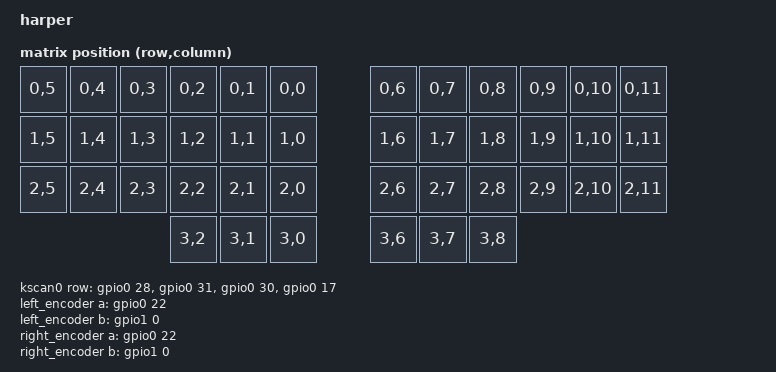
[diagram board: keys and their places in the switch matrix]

/dts-v1/;

#define ZMK_POINTING_DEFAULT_SCRL_VAL 180

#include <nordic/nrf52840_qiaa.dtsi>
#include <dt-bindings/zmk/matrix_transform.h>
#include <dt-bindings/led/led.h>
#include <dt-bindings/zmk/pointing.h>

#include "hallie.pinctrl.dtsi"
#include "hallie.layouts.dtsi"

&hallie_layout {
    transform = <&default_transform>;
};

/ {
	model = "harper";
	compatible = "harper";

	chosen {
		zephyr,code-partition = &code_partition;
		zephyr,sram = &sram0;
		zephyr,flash = &flash0;
		zmk,kscan = &kscan0;
		zmk,physical-layout = &hallie_layout;
        zephyr,console = &cdc_acm_uart;
		zmk,battery = &vbatt;
		zmk,led-widgets-dev = &leds;
	};

	default_transform: keymap_transform_0 {
      		compatible = "zmk,matrix-transform";
      		columns = <12>;
      		rows = <4>;
			// | SW6  | SW5  | SW4  | SW3  | SW2  | SW1  |           | SW1  | SW2  | SW3  | SW4  | SW5  | SW6  |
			// | SW12 | SW11 | SW10 | SW9  | SW8  | SW7  |           | SW7  | SW8  | SW9  | SW10 | SW11 | SW12 |
			// | SW18 | SW17 | SW16 | SW15 | SW14 | SW13 |           | SW13 | SW14 | SW15 | SW16 | SW17 | SW18 |
			//                      | SW21 | SW20 | SW19 |           | SW19 | SW20 | SW21 |
      		map = <
				RC(0,5) RC(0,4) RC(0,3) RC(0,2) RC(0,1) RC(0,0)          RC(0,6)  RC(0,7) RC(0,8) RC(0,9) RC(0,10) RC(0,11)
				RC(1,5) RC(1,4) RC(1,3) RC(1,2) RC(1,1) RC(1,0)          RC(1,6)  RC(1,7) RC(1,8) RC(1,9) RC(1,10) RC(1,11)
				RC(2,5) RC(2,4) RC(2,3) RC(2,2) RC(2,1) RC(2,0)          RC(2,6)  RC(2,7) RC(2,8) RC(2,9) RC(2,10) RC(2,11)
										RC(3,2) RC(3,1) RC(3,0)          RC(3,6)  RC(3,7) RC(3,8)
      		>;
	};

	kscan0: kscan {
		compatible = "zmk,kscan-gpio-matrix";
		diode-direction = "col2row";
		wakeup-source;
		row-gpios
			= <&gpio0 28 (GPIO_ACTIVE_HIGH | GPIO_PULL_DOWN)>
			, <&gpio0 31 (GPIO_ACTIVE_HIGH | GPIO_PULL_DOWN)>
			, <&gpio0 30 (GPIO_ACTIVE_HIGH | GPIO_PULL_DOWN)>
			, <&gpio0 17 (GPIO_ACTIVE_HIGH | GPIO_PULL_DOWN)>
			;

	};

	leds: leds {
		compatible = "gpio-leds";
		status_led: led_0 {
			gpios = <&gpio1 11 (GPIO_ACTIVE_HIGH | GPIO_PULL_DOWN)>;
		};
		bat_led_1: led_b_1 {
			gpios = <&gpio0 6 (GPIO_ACTIVE_HIGH | GPIO_PULL_DOWN)>;
		};
		bat_led_2: led_b_2 {
			gpios = <&gpio0 4 (GPIO_ACTIVE_HIGH | GPIO_PULL_DOWN)>;
		};
		bat_led_3: led_b_3 {
			gpios = <&gpio1 13 (GPIO_ACTIVE_HIGH | GPIO_PULL_DOWN)>;
		};
	};

	vbatt: vbatt {
		compatible = "zmk,battery-voltage-divider";
		io-channels = <&adc 0>;
		output-ohms = <2000000>;
		full-ohms = <(2000000 + 820000)>;
	};

	left_encoder: encoder_left {
		compatible = "alps,ec11";
		a-gpios = <&gpio0 22 (GPIO_ACTIVE_LOW | GPIO_PULL_UP)>;
		b-gpios = <&gpio1  0 (GPIO_ACTIVE_LOW | GPIO_PULL_UP)>;
		steps = <18>;
		status = "disabled";
		debounce-ms = <6>;
		debounce-scan-period-ms = <6>;
		model = "r1";
	};

	right_encoder: encoder_right {
		compatible = "alps,ec11";
		a-gpios = <&gpio0 22 (GPIO_ACTIVE_LOW | GPIO_PULL_UP)>;
		b-gpios = <&gpio1  0 (GPIO_ACTIVE_LOW | GPIO_PULL_UP)>;
		steps = <18>;
		status = "disabled";
		debounce-ms = <6>;
		debounce-scan-period-ms = <6>;
		model = "r1";
	};

	sensors {
		compatible = "zmk,keymap-sensors";
		sensors = <&left_encoder &right_encoder>;
	};

	scroll_u_d: behavior_sensor_rotate_mouse_wheel_up_down {
		compatible = "zmk,behavior-sensor-rotate";
		#sensor-binding-cells = <0>;
		tap-ms = <20>;
		bindings = <&msc SCRL_UP>, <&msc SCRL_DOWN>;
		display-name = "Mouse wheel (UD)";
	};

	scroll_l_r: behavior_sensor_rotate_mouse_wheel_left_right {
		compatible = "zmk,behavior-sensor-rotate";
		#sensor-binding-cells = <0>;
		tap-ms = <20>;
		bindings = <&msc SCRL_LEFT>, <&msc SCRL_RIGHT>;
		display-name = "Mouse wheel (LR)";
	};
};

&adc {
	status = "okay";
};

&gpiote {
	status = "okay";
};

&gpio0 {
	status = "okay";
};

&gpio1 {
	status = "okay";
};

&usbd {
  status = "okay";
  cdc_acm_uart: cdc_acm_uart {
    compatible = "zephyr,cdc-acm-uart";
  };
};

&i2c0 {
    compatible = "nordic,nrf-twi";
    pinctrl-0 = <&i2c0_default>;
    pinctrl-1 = <&i2c0_sleep>;
    pinctrl-names = "default", "sleep";
};

&spi1 {
    compatible = "nordic,nrf-spim";
    pinctrl-0 = <&spi1_default>;
    pinctrl-1 = <&spi1_sleep>;
    pinctrl-names = "default", "sleep";
};

&uart0 {
    compatible = "nordic,nrf-uarte";
    current-speed = <115200>;
    pinctrl-0 = <&uart0_default>;
    pinctrl-1 = <&uart0_sleep>;
    pinctrl-names = "default", "sleep";
};

zephyr_udc0: &usbd {
    status = "okay";
};


&flash0 {
	/*
	 * For more information, see:
	 * http://docs.zephyrproject.org/latest/devices/dts/flash_partitions.html
	 */
	partitions {
		compatible = "fixed-partitions";
		#address-cells = <1>;
		#size-cells = <1>;

		sd_partition: partition@0 {
			label = "softdevice";
			reg = <0x00000000 0x00026000>;
		};
		code_partition: partition@26000 {
			label = "code_partition";
			reg = <0x00026000 0x000c6000>;
		};

		/*
		 * The flash starting at 0x000ec000 and ending at
		 * 0x000f3fff is reserved for use by the application.
		 */

		/*
		 * Storage partition will be used by FCB/LittleFS/NVS
		 * if enabled.
		 */
		storage_partition: partition@ec000 {
			label = "storage";
			reg = <0x000ec000 0x00008000>;
		};

		boot_partition: partition@f4000 {
			label = "adafruit_boot";
			reg = <0x000f4000 0x0000c000>;
		};
	};
};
